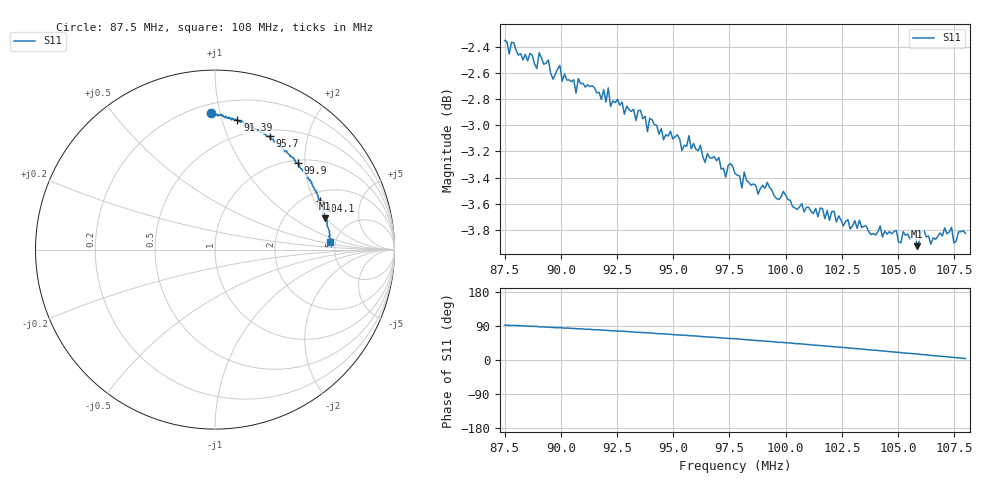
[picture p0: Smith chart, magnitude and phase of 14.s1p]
!Agilent Technologies,N5225A,MY51441201,A.09.90.19
!Agilent N5225A: A.09.90.19
!Date: Wednesday, April 25, 2018 14:33:46
!Correction: S11(Full 1 Port(1))
!S1P File: Measurement: S11:
# Hz S  dB  R 50
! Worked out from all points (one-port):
!   201 points, 87.5 MHz to 108 MHz, reference 50 ohm
!   lowest |S11| = -3.9 dB at 105.8 MHz (marker M1), VSWR 4.50, Z = 164 + j96.5 ohm
!   |S11| at or under -10 dB: nowhere
!   S11 on the Smith chart (normalised r, x): 87.5 MHz: 0.26, +0.94; 91.39 MHz: 0.36, +1.12; 95.7 MHz: 0.58, +1.43; 99.9 MHz: 1.07, +1.85; 104.1 MHz: 2.37, +2.20; 108 MHz: 4.50, +0.68
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8.75e7  -2.35 91.8
8.8115e7  -2.46 91.1
8.8525e7  -2.50 89.3
8.8935e7  -2.56 88.7
8.90375e7  -2.44 87.4
8.96525e7  -2.64 85.9
8.996e7  -2.54 85.3
9.00625e7  -2.66 84.8
9.0165e7  -2.60 83.8
9.037e7  -2.65 84.1
9.0985e7  -2.68 82.1
9.10875e7  -2.70 80.9
9.12925e7  -2.70 81.2
9.1395e7  -2.69 80.2
9.2625e7  -2.84 76.2
9.51875e7  -3.07 66.6
9.53925e7  -3.19 65.6
9.57e7  -3.08 64.3
9.775e7  -3.37 56.2
9.99025e7  -3.51 46.0
1.003125e8  -3.62 44.1
1.021575e8  -3.66 34.7
1.02875e8  -3.79 31.2
1.04105e8  -3.82 24.9
1.054375e8  -3.84 17.8
1.058475e8  -3.93 16.0
1.06155e8  -3.81 13.9
1.08e8  -3.83 3.9
